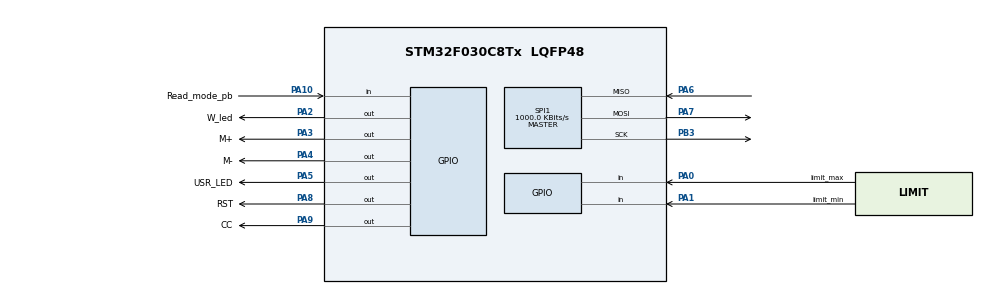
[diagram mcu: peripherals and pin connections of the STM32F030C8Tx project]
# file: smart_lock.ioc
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Mcu.Family=STM32F0
Mcu.Name=STM32F030C8Tx
Mcu.Package=LQFP48
PA0.GPIO_Label=limit_max
PA0.GPIO_PuPd=GPIO_PULLUP
PA0.Signal=GPIO_Input
PA1.GPIO_Label=limit_min
PA1.GPIO_PuPd=GPIO_PULLUP
PA1.Signal=GPIO_Input
PA10.GPIO_Label=Read_mode_pb
PA10.GPIO_PuPd=GPIO_PULLUP
PA10.Signal=GPIO_Input
PA13.Mode=Serial_Wire
PA13.Signal=SYS_SWDIO
PA14.Mode=Serial_Wire
PA14.Signal=SYS_SWCLK
PA2.GPIO_Label=W_led
PA2.Signal=GPIO_Output
PA3.GPIO_Label=M+
PA3.Signal=GPIO_Output
PA4.GPIO_Label=M-
PA4.Signal=GPIO_Output
PA5.GPIO_Label=USR_LED
PA5.PinState=GPIO_PIN_SET
PA5.Signal=GPIO_Output
PA6.Mode=Full_Duplex_Master
PA6.Signal=SPI1_MISO
PA7.Mode=Full_Duplex_Master
PA7.Signal=SPI1_MOSI
PA8.GPIO_Label=RST
PA8.Signal=GPIO_Output
PA9.GPIO_Label=CC
PA9.Signal=GPIO_Output
PB3.Mode=Full_Duplex_Master
PB3.Signal=SPI1_SCK
ProjectManager.HeapSize=0x200
ProjectManager.StackSize=0x400
ProjectManager.TargetToolchain=STM32CubeIDE
SPI1.BaudRatePrescaler=SPI_BAUDRATEPRESCALER_8
SPI1.CalculateBaudRate=1000.0 KBits/s
SPI1.DataSize=SPI_DATASIZE_8BIT
SPI1.Direction=SPI_DIRECTION_2LINES
SPI1.Mode=SPI_MODE_MASTER
SPI1.VirtualType=VM_MASTER
board=custom

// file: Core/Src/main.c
/* USER CODE BEGIN Header */
/**
  ******************************************************************************
  * @file           : main.c
  * @brief          : Main program body
  ******************************************************************************
  * @attention
  *
  * Copyright (c) 2024 STMicroelectronics.
  * All rights reserved.
  *
  * This software is licensed under terms that can be found in the LICENSE file
  * in the root directory of this software component.
  * If no LICENSE file comes with this software, it is provided AS-IS.
  *
  ******************************************************************************
  */
/* USER CODE END Header */
#include "main.h"

/* USER CODE BEGIN Includes */

#include <stdio.h>
#include <stm32f1_rc522.h>
#include "config.h"
#include "Flash_Page_f0.h"
/* USER CODE END Includes */

SPI_HandleTypeDef hspi1;

/* USER CODE BEGIN PV */
#ifdef __GNUC__
#define PUTCHAR_PROTOTYPE int __io_putchar(int ch)
#else
#define PUTCHAR_PROTOTYPE int fputc(int ch, FILE *f)
#endif

//PUTCHAR_PROTOTYPE
//{
//  HAL_UART_Transmit(&huart1, (uint8_t *)&ch, 1, HAL_MAX_DELAY);
//  return ch;
//}

uint8_t status;
uint8_t str[MAX_LEN]; // Max_LEN = 16

uint8_t serNum[5];
//char password[16]="123456"; //Max lenght of password is 16 charaters
//char keypass[16];
//int cnt=0;
uint8_t key;
//uint8_t check,check2;

uint8_t  KEY[] = {0xFF,0xFF,0xFF,0xFF,0xFF,0xFF};
uint8_t  KEY2[]={1,2,3,4,5,6};       //{1,2,3,4,5,6};//"mohem";
//uint8_t  BLOCK_ADDRS[] =  {1}; //{1, 2, 3};

uint8_t test;
uint8_t W[]="zagros-elec";
uint8_t R[16];

/* USER CODE END PV */

void SystemClock_Config(void);
static void MX_GPIO_Init(void);
static void MX_SPI1_Init(void);

int main(void)
{

  /* MCU Configuration--------------------------------------------------------*/

  /* Reset of all peripherals, Initializes the Flash interface and the Systick. */
  HAL_Init();

  /* Configure the system clock */
  SystemClock_Config();

  /* Initialize all configured peripherals */
  MX_GPIO_Init();
  MX_SPI1_Init();
  /* USER CODE BEGIN 2 */
  MFRC522_Init();

  /* USER CODE END 2 */

  /* Infinite loop */
  /* USER CODE BEGIN WHILE */
  USER_LED_ON;
  WHITE_LED_OFF;
  Store_UID();
  Retrieve_UID();
//  Motor_forward();
//  uint32_t Key_Card[5]  = {0x93, 0x59, 0x93, 0x6, 0x5f};
//  Flash_Write_Data(STORE_ADDRESS,Key_Card, 5);

  Card_detect();

  while (1)
  {
    /* USER CODE END WHILE */

    /* USER CODE BEGIN 3 */
#if		0

	  status = MFRC522_Request(PICC_REQIDL, str);	//MFRC522_Request(0x26, str)
	  status = MFRC522_Anticoll(str);		//Take a collision, look up 5 bytes
	  if(status == MI_OK)
	  {
		  static int i =0;
		  i++;
		  HAL_GPIO_TogglePin(GPIOA, GPIO_PIN_5);
		  printf("index = %d\n",i);

	  }
#endif

	  HAL_Delay(200);

  }
  /* USER CODE END 3 */
}

void SystemClock_Config(void)
{
  RCC_OscInitTypeDef RCC_OscInitStruct = {0};
  RCC_ClkInitTypeDef RCC_ClkInitStruct = {0};

  /** Initializes the RCC Oscillators according to the specified parameters
  * in the RCC_OscInitTypeDef structure.
  */
  RCC_OscInitStruct.OscillatorType = RCC_OSCILLATORTYPE_HSI;
  RCC_OscInitStruct.HSIState = RCC_HSI_ON;
  RCC_OscInitStruct.HSICalibrationValue = RCC_HSICALIBRATION_DEFAULT;
  RCC_OscInitStruct.PLL.PLLState = RCC_PLL_NONE;
  if (HAL_RCC_OscConfig(&RCC_OscInitStruct) != HAL_OK)
  {
    Error_Handler();
  }

  /** Initializes the CPU, AHB and APB buses clocks
  */
  RCC_ClkInitStruct.ClockType = RCC_CLOCKTYPE_HCLK|RCC_CLOCKTYPE_SYSCLK
                              |RCC_CLOCKTYPE_PCLK1;
  RCC_ClkInitStruct.SYSCLKSource = RCC_SYSCLKSOURCE_HSI;
  RCC_ClkInitStruct.AHBCLKDivider = RCC_SYSCLK_DIV1;
  RCC_ClkInitStruct.APB1CLKDivider = RCC_HCLK_DIV1;

  if (HAL_RCC_ClockConfig(&RCC_ClkInitStruct, FLASH_LATENCY_0) != HAL_OK)
  {
    Error_Handler();
  }
}

static void MX_SPI1_Init(void)
{

  /* SPI1 parameter configuration*/
  hspi1.Instance = SPI1;
  hspi1.Init.Mode = SPI_MODE_MASTER;
  hspi1.Init.Direction = SPI_DIRECTION_2LINES;
  hspi1.Init.DataSize = SPI_DATASIZE_8BIT;
  hspi1.Init.CLKPolarity = SPI_POLARITY_LOW;
  hspi1.Init.CLKPhase = SPI_PHASE_1EDGE;
  hspi1.Init.NSS = SPI_NSS_SOFT;
  hspi1.Init.BaudRatePrescaler = SPI_BAUDRATEPRESCALER_8;
  hspi1.Init.FirstBit = SPI_FIRSTBIT_MSB;
  hspi1.Init.TIMode = SPI_TIMODE_DISABLE;
  hspi1.Init.CRCCalculation = SPI_CRCCALCULATION_DISABLE;
  hspi1.Init.CRCPolynomial = 7;
  hspi1.Init.CRCLength = SPI_CRC_LENGTH_DATASIZE;
  hspi1.Init.NSSPMode = SPI_NSS_PULSE_ENABLE;
  if (HAL_SPI_Init(&hspi1) != HAL_OK)
  {
    Error_Handler();
  }

}

static void MX_GPIO_Init(void)
{
  GPIO_InitTypeDef GPIO_InitStruct = {0};

  /* GPIO Ports Clock Enable */
  __HAL_RCC_GPIOA_CLK_ENABLE();
  __HAL_RCC_GPIOB_CLK_ENABLE();

  /*Configure GPIO pin Output Level */
  HAL_GPIO_WritePin(GPIOA, W_led_Pin|M__Pin|M_A4_Pin|RST_Pin
                          |CC_Pin, GPIO_PIN_RESET);

  /*Configure GPIO pin Output Level */
  HAL_GPIO_WritePin(USR_LED_GPIO_Port, USR_LED_Pin, GPIO_PIN_SET);

  /*Configure GPIO pins : limit_max_Pin limit_min_Pin Read_mode_pb_Pin */
  GPIO_InitStruct.Pin = limit_max_Pin|limit_min_Pin|Read_mode_pb_Pin;
  GPIO_InitStruct.Mode = GPIO_MODE_INPUT;
  GPIO_InitStruct.Pull = GPIO_PULLUP;
  HAL_GPIO_Init(GPIOA, &GPIO_InitStruct);

  /*Configure GPIO pins : W_led_Pin M__Pin M_A4_Pin USR_LED_Pin
                           RST_Pin CC_Pin */
  GPIO_InitStruct.Pin = W_led_Pin|M__Pin|M_A4_Pin|USR_LED_Pin
                          |RST_Pin|CC_Pin;
  GPIO_InitStruct.Mode = GPIO_MODE_OUTPUT_PP;
  GPIO_InitStruct.Pull = GPIO_NOPULL;
  GPIO_InitStruct.Speed = GPIO_SPEED_FREQ_LOW;
  HAL_GPIO_Init(GPIOA, &GPIO_InitStruct);

}

void Error_Handler(void)
{
  __disable_irq();
  while (1)
  {
  }
}
